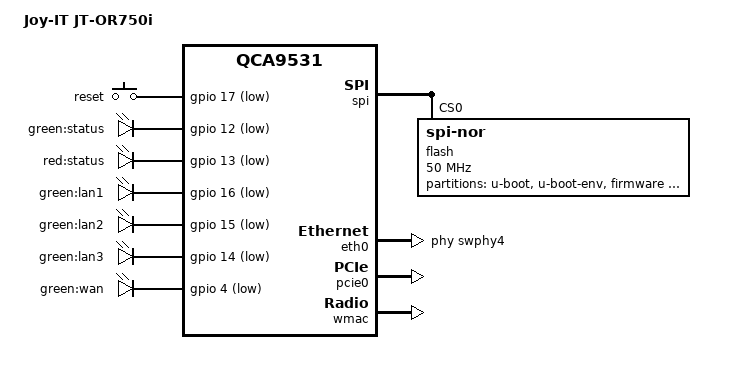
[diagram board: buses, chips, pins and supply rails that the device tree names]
// SPDX-License-Identifier: GPL-2.0-or-later OR MIT

#include "qca953x.dtsi"

#include <dt-bindings/gpio/gpio.h>
#include <dt-bindings/input/input.h>

/ {
	compatible = "joyit,jt-or750i", "qca,qca9531";
	model = "Joy-IT JT-OR750i";

	aliases {
		led-boot = &led_status_green;
		led-failsafe = &led_status_red;
		led-running = &led_status_green;
		led-upgrade = &led_status_red;
		label-mac-device = &eth1;
	};

	keys {
		compatible = "gpio-keys";

		reset {
			label = "reset";
			linux,code = <KEY_RESTART>;
			gpios = <&gpio 17 GPIO_ACTIVE_LOW>;
		};
	};

	leds {
		compatible = "gpio-leds";

		led_status_green: status_green {
			label = "green:status";
			gpios = <&gpio 12 GPIO_ACTIVE_LOW>;
		};

		led_status_red: status_red {
			label = "red:status";
			gpios = <&gpio 13 GPIO_ACTIVE_LOW>;
		};

		lan1 {
			label = "green:lan1";
			gpios = <&gpio 16 GPIO_ACTIVE_LOW>;
		};

		lan2 {
			label = "green:lan2";
			gpios = <&gpio 15 GPIO_ACTIVE_LOW>;
		};

		lan3 {
			label = "green:lan3";
			gpios = <&gpio 14 GPIO_ACTIVE_LOW>;
		};

		wan {
			label = "green:wan";
			gpios = <&gpio 4 GPIO_ACTIVE_LOW>;
		};
	};
};

&spi {
	status = "okay";

	flash@0 {
		compatible = "jedec,spi-nor";
		reg = <0>;
		spi-max-frequency = <50000000>;

		partitions {
			compatible = "fixed-partitions";
			#address-cells = <1>;
			#size-cells = <1>;

			partition@0 {
				label = "u-boot";
				reg = <0x0 0x40000>;
				read-only;
			};

			partition@40000 {
				label = "u-boot-env";
				reg = <0x40000 0x10000>;
			};

			partition@50000 {
				label = "firmware";
				reg = <0x50000 0xfa0000>;
				compatible = "denx,uimage";
			};

			art: partition@ff0000 {
				label = "art";
				reg = <0xff0000 0x10000>;
				read-only;
			};
		};
	};
};

&eth0 {
	status = "okay";

	phy-handle = <&swphy4>;

	mtd-mac-address = <&art 0x0>;
};

&eth1 {
	mtd-mac-address = <&art 0x6>;
};

&pcie0 {
	status = "okay";
};

&wmac {
	status = "okay";

	mtd-cal-data = <&art 0x1000>;
};
